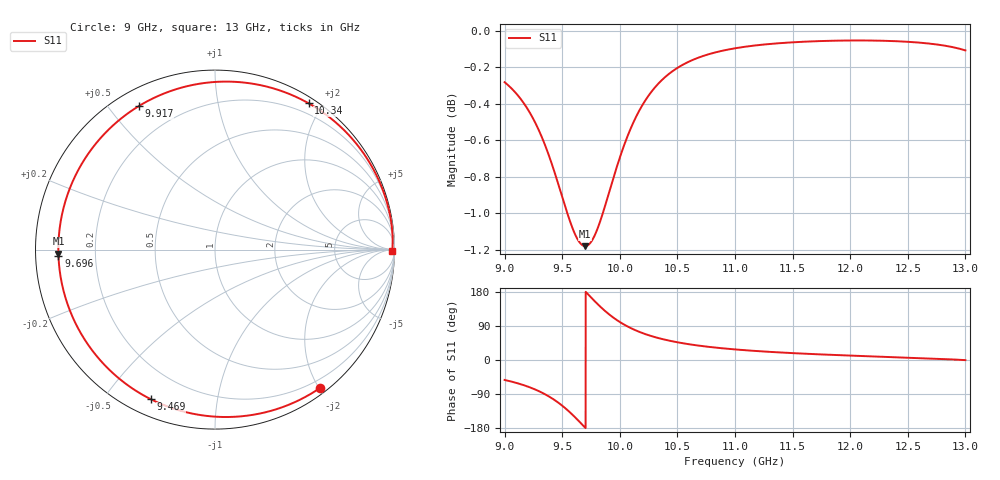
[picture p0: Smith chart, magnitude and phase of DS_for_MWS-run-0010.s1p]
! TOUCHSTONE file generated by CST DESIGN STUDIO
! Date and time: Tue Feb  4 13:34:44 2025
! Project name: C:\Work\MatlabApps\UnitCellOptimizationMatlab\CST\unitcell.cst
! Tree item: Tasks\Sweep1\SPara1\S-Parameters
! Header version: 2024
! Port assignment regex: !\s*Touchstone port\s*([0-9]+)\s*=\s*(CST MWS port|CST DES external port|CST DES block port)\s*(.+)\s* \(\"(.*)\"\)(\s*mode\s*([0-9]+))?.*
! Touchstone port assignment:
! Touchstone port 1 = CST DES external port 1 ("")
# GHz S MA R 50
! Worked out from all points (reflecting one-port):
!   4001 points, 9 GHz to 13 GHz, reference 50 ohm
!   lowest |S11| = -1.2 dB at 9.699 GHz (marker M1), VSWR 14.73, Z = 3.4 - j0.633 ohm
!   phase of S11 starts at -53 deg and turns -308 deg over the sweep
!   S11 on the Smith chart (normalised r, x): 9 GHz: 0.08, -2.02; 9.469 GHz: 0.07, -0.66; 9.696 GHz: 0.07, -0.02; 9.917 GHz: 0.07, +0.60; 10.34 GHz: 0.07, +1.82; 13 GHz: open
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9  0.968 -52.6
9.126  0.9591 -62.6
9.245  0.9464 -75.2
9.371  0.9268 -93.8
9.422  0.9169 -103.3
9.469  0.9071 -113.2
9.5  0.9004 -120.5
9.555  0.8891 -134.7
9.611  0.8795 -150.9
9.655  0.8746 -164.5
9.696  0.8728 -177.6
9.699  0.8728 -178.5
9.744  0.8746 167.0
9.792  0.8802 152.1
9.855  0.8917 133.9
9.917  0.9052 118.1
10  0.923 100.3
10.073  0.9366 87.6
10.162  0.9499 75.2
10.248  0.9597 65.6
10.341  0.9676 57.4
10.5  0.9768 46.8
10.718  0.9841 36.7
11  0.989 27.9
11.5  0.9927 18.2
12  0.9939 11.7
12.5  0.993 6.2
13  0.9876 -0.3
